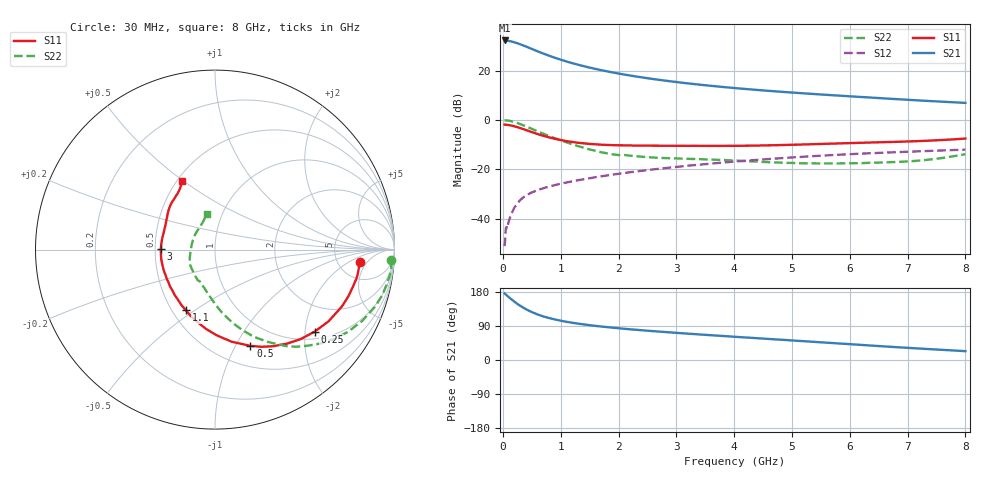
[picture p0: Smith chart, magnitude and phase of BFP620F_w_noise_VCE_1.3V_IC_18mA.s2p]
! Infineon Technologies  Discrete & RF Semiconductors
! BFP620F
! VCE =  1.3 V,  IC =  18 mA
! Common Emitter S-Parameters:  Dec 2014
# GHz  S  MA  R  50
!  f  S11  S21  S12  S22
! GHz  MAG  ANG  MAG  ANG  MAG  ANG  MAG  ANG
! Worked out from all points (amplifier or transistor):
!   95 points, 30 MHz to 8 GHz, reference 50 ohm
!   highest |S21| = 32.2 dB at 30 MHz (marker M1)
!   |S21| within 3 dB of that: start of sweep to 455.6 MHz
!   unconditionally stable (mu >= 1): 3.153 GHz to end of sweep
!   at 300 MHz: K = 0.26, MSG = 31.5 dB, |S12| = -32.4 dB
!   at 3.3 GHz: K = 1.00, MAG = 16.0 dB, |S12| = -18.3 dB
!   at 8 GHz: K = 1.07, MAG = 7.9 dB, |S12| = -12.0 dB
!   lowest NFmin = 0.78 dB at 450 MHz
!   S11 on the Smith chart (normalised r, x): 30 MHz: 8.09, -3.29; 250 MHz: 1.19, -2.24; 500 MHz: 0.72, -1.15; 1.1 GHz: 0.59, -0.46; 3 GHz: 0.54, +0.00; 8 GHz: 0.53, +0.49
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0.03  0.8085 -5.0  40.95 175.7  0.0028 92.3  0.983 -3.5
0.08  0.7991 -13.4  40.58 168.8  0.007 84.4  0.9776 -10.4
0.15  0.7727 -24.7  39.02 159.8  0.0128 79.0  0.9457 -19.7
0.2  0.7481 -32.3  37.49 153.9  0.017 75.3  0.9115 -25.8
0.25  0.7189 -39.5  35.96 148.2  0.0203 72.7  0.8727 -31.5
0.3  0.6899 -46.3  34.28 143.1  0.024 69.5  0.8315 -36.8
0.4  0.6281 -59.0  30.87 134.0  0.0295 65.8  0.7443 -46.0
0.5  0.5714 -69.8  27.62 126.5  0.0343 62.4  0.6658 -53.8
0.6  0.5217 -79.7  24.73 120.2  0.0382 60.6  0.592 -60.3
0.7  0.4805 -88.2  22.25 115.0  0.0417 59.0  0.5306 -66.1
0.8  0.4467 -96.0  20.09 110.7  0.0452 58.1  0.4762 -70.9
0.9  0.4175 -103.0  18.27 107.0  0.0484 57.3  0.4294 -75.5
1.1  0.3751 -115.6  15.37 100.8  0.0544 57.0  0.3543 -83.5
1.4  0.3385 -131.5  12.35 93.9  0.0635 56.6  0.2751 -94.1
1.7  0.3174 -144.6  10.26 88.4  0.0726 56.3  0.2235 -105.1
2  0.3087 -155.3  8.769 83.8  0.0818 55.9  0.1956 -116.0
2.7  0.3028 -174.0  6.536 75.0  0.1034 53.8  0.172 -135.6
3  0.3013 179.6  5.9 71.6  0.1127 52.7  0.1677 -141.9
4.1  0.3019 160.6  4.358 60.4  0.1471 47.4  0.1497 -159.7
5.4  0.3262 144.7  3.36 47.7  0.1871 39.5  0.133 171.8
6.7  0.3602 130.2  2.703 34.9  0.2216 30.3  0.1405 139.2
8  0.4228 115.8  2.229 23.3  0.2522 21.4  0.2034 103.0
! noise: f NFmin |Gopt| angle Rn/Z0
0.45  0.78  0.08  6  0.21
0.9  0.84  0.08  15  0.18
1.5  0.89  0.08  16  0.14
1.8  0.91  0.07  17  0.13
1.9  0.92  0.04  34  0.15
2.4  0.96  0.03  60  0.14
3.5  1.04  0.03  133  0.14
5.5  1.18  0.13  224  0.09
6  1.21  0.13  245  0.13
